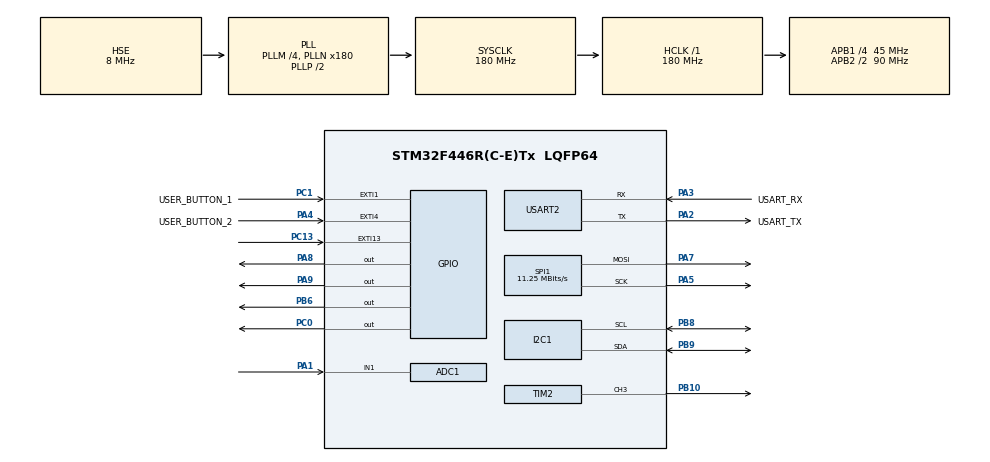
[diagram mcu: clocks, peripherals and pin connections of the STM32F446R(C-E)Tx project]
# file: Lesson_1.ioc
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ADC1.Channel-0\#ChannelRegularConversion=ADC_CHANNEL_1
ADC1.ContinuousConvMode=DISABLE
ADC1.NbrOfConversionFlag=1
ADC1.Rank-0\#ChannelRegularConversion=1
ADC1.SamplingTime-0\#ChannelRegularConversion=ADC_SAMPLETIME_144CYCLES
ADC1.master=1
Mcu.Family=STM32F4
Mcu.Name=STM32F446R(C-E)Tx
Mcu.Package=LQFP64
NUCLEO-F446RE.BUTTON=1
NUCLEO-F446RE.LD1=true
NVIC.EXTI1_IRQn=true\:0\:0\:false\:false\:true\:true\:true\:true
NVIC.EXTI4_IRQn=true\:0\:0\:false\:false\:true\:true\:true\:true
NVIC.PriorityGroup=NVIC_PRIORITYGROUP_0
NVIC.TIM3_IRQn=true\:0\:0\:false\:false\:true\:true\:true\:true
NVIC.USART2_IRQn=true\:0\:0\:false\:false\:true\:true\:true\:true
PA1.Signal=ADCx_IN1
PA13.GPIO_Label=TMS
PA13.Signal=SYS_JTMS-SWDIO
PA14.GPIO_Label=TCK
PA14.Signal=SYS_JTCK-SWCLK
PA2.GPIO_Label=USART_TX
PA2.Mode=Asynchronous
PA2.Signal=USART2_TX
PA3.GPIO_Label=USART_RX
PA3.Mode=Asynchronous
PA3.Signal=USART2_RX
PA4.GPIO_Label=USER_BUTTON_2
PA4.GPIO_ModeDefaultEXTI=GPIO_MODE_IT_RISING_FALLING
PA4.GPIO_PuPd=GPIO_PULLUP
PA4.Signal=GPXTI4
PA5.Mode=TX_Only_Simplex_Unidirect_Master
PA5.Signal=SPI1_SCK
PA7.Mode=TX_Only_Simplex_Unidirect_Master
PA7.Signal=SPI1_MOSI
PA8.Signal=GPIO_Output
PA9.Signal=GPIO_Output
PB10.Signal=S_TIM2_CH3
PB3.GPIO_Label=SWO
PB3.Signal=SYS_JTDO-SWO
PB6.Signal=GPIO_Output
PB8.Mode=I2C
PB8.Signal=I2C1_SCL
PB9.Mode=I2C
PB9.Signal=I2C1_SDA
PC0.Signal=GPIO_Output
PC1.GPIO_Label=USER_BUTTON_1
PC1.GPIO_ModeDefaultEXTI=GPIO_MODE_IT_RISING_FALLING
PC1.GPIO_PuPd=GPIO_PULLUP
PC1.Signal=GPXTI1
PC13.Signal=GPXTI13
PC14-OSC32_IN.Signal=RCC_OSC32_IN
PC15-OSC32_OUT.Signal=RCC_OSC32_OUT
PH0-OSC_IN.Mode=HSE-External-Clock-Source
PH0-OSC_IN.Signal=RCC_OSC_IN
PH1-OSC_OUT.Mode=HSE-External-Clock-Source
PH1-OSC_OUT.Signal=RCC_OSC_OUT
ProjectManager.HeapSize=0x200
ProjectManager.StackSize=0x400
ProjectManager.TargetToolchain=STM32CubeIDE
RCC.AHBFreq_Value=180000000
RCC.APB1CLKDivider=RCC_HCLK_DIV4
RCC.APB1Freq_Value=45000000
RCC.APB1TimFreq_Value=90000000
RCC.APB2CLKDivider=RCC_HCLK_DIV2
RCC.APB2Freq_Value=90000000
RCC.APB2TimFreq_Value=180000000
RCC.CortexFreq_Value=180000000
RCC.FLatency-AdvancedSettings=FLASH_LATENCY_5
RCC.HCLKFreq_Value=180000000
RCC.HSE_VALUE=8000000
RCC.HSI_VALUE=16000000
RCC.LSE_VALUE=32768
RCC.PLLM=4
RCC.PLLN=180
RCC.PLLSourceVirtual=RCC_PLLSOURCE_HSE
RCC.SYSCLKFreq_VALUE=180000000
RCC.SYSCLKSource=RCC_SYSCLKSOURCE_PLLCLK
RCC.USBFreq_Value=180000000
RCC.VCOOutputFreq_Value=360000000
SH.ADCx_IN1.0=ADC1_IN1,IN1
SH.S_TIM2_CH3.0=TIM2_CH3,PWM Generation3 CH3
SPI1.BaudRatePrescaler=SPI_BAUDRATEPRESCALER_8
SPI1.CalculateBaudRate=11.25 MBits/s
SPI1.Direction=SPI_DIRECTION_2LINES
SPI1.Mode=SPI_MODE_MASTER
SPI1.VirtualType=VM_MASTER
TIM2.Channel-PWM\ Generation3\ CH3=TIM_CHANNEL_3
TIM2.Period=999
TIM2.Prescaler=179
TIM3.Period=999
TIM3.Prescaler=179
USART2.VirtualMode=VM_ASYNC
VP_NUCLEO-F446RE_VS_BSP_COMMON.Mode=COMMON
VP_TIM2_VS_ClockSourceINT.Mode=Internal
VP_TIM3_VS_ClockSourceINT.Mode=Internal
board=NUCLEO-F446RE

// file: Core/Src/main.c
/* USER CODE BEGIN Header */
/**
 ******************************************************************************
 * @file           : main.c
 * @brief          : Main program body
 ******************************************************************************
 * @attention
 *
 * Copyright (c) 2026 STMicroelectronics.
 * All rights reserved.
 *
 * This software is licensed under terms that can be found in the LICENSE file
 * in the root directory of this software component.
 * If no LICENSE file comes with this software, it is provided AS-IS.
 *
 ******************************************************************************
 */
/* USER CODE END Header */
#include "main.h"

/* USER CODE BEGIN Includes */
#include "bsp_led.h"
#include "stdio.h"
#include "math.h"
#include "st7735.h"
#include "fonts.h"
#include "string.h"
/* USER CODE END Includes */

ADC_HandleTypeDef hadc1;

I2C_HandleTypeDef hi2c1;

SPI_HandleTypeDef hspi1;

TIM_HandleTypeDef htim2;
TIM_HandleTypeDef htim3;

UART_HandleTypeDef huart2;

/* USER CODE BEGIN PV */
uint8_t rx_buffer;// 0 = переход 1->2, 1 = переход 2->3, 2 = переход 3->1
uint8_t current_screen = 0; // 0 - углы, 1 - настройка порога
float alarm_threshold = 30.0f; // По умолчанию угл
volatile uint8_t button_pressed_flag = 0;
/* USER CODE END PV */

void SystemClock_Config(void);
static void MX_TIM2_Init(void);
static void MX_TIM3_Init(void);
static void MX_USART2_UART_Init(void);
static void MX_ADC1_Init(void);
static void MX_I2C1_Init(void);
static void MX_SPI1_Init(void);

/* USER CODE BEGIN 0 */
#define PI 3.14159265f
#ifdef __GNUC__
int __io_putchar(int ch)
{
	HAL_UART_Transmit(&huart2, (uint8_t*)&ch, 1, HAL_MAX_DELAY);
	return ch;
}
#endif

uint8_t Read_Reg(uint16_t DevAddress, uint8_t RegAddress)
{
	uint8_t data = 0;
	// DevAddress уже должен быть сдвинут влево на 1 бит (0x68 << 1)
	HAL_I2C_Mem_Read(&hi2c1, DevAddress, RegAddress, 1, &data, 1, 100);
	return data;
}

void Write_Reg(uint16_t DevAddress, uint8_t RegAddress, uint8_t Data)
{
	HAL_I2C_Mem_Write(&hi2c1, DevAddress, RegAddress, 1, &Data, 1, 100);
}

void Send_JSON(float roll, float pitch)
{
	char json_buffer[64];
	//Формируем строку. \r\n нужен для окончания строки (Enter)
	sprintf(json_buffer, "{\"roll\": %.1f, \"pitch\": %.1f}\r\n", roll, pitch);
	//Отправляем через UART (используется HAL вместо printf из-за быстродейтсвия
	HAL_UART_Transmit(&huart2, (uint8_t*)json_buffer, strlen(json_buffer), 100);

}
/* USER CODE END 0 */

int main(void)
{

  /* MCU Configuration--------------------------------------------------------*/

  /* Reset of all peripherals, Initializes the Flash interface and the Systick. */
  HAL_Init();

  /* Configure the system clock */
  SystemClock_Config();

  /* Initialize all configured peripherals */
  MX_GPIO_Init();
  MX_TIM2_Init();
  MX_TIM3_Init();
  MX_USART2_UART_Init();
  MX_ADC1_Init();
  MX_I2C1_Init();
  MX_SPI1_Init();
  /* USER CODE BEGIN 2 */
	printf("\r\n--- STM32 UART is ready! ---\r\n");

	HAL_UART_Receive_IT(&huart2, &rx_buffer, 1);

	//Запускаем АЦП (без прерываний, просто в фоне)
	HAL_ADC_Start(&hadc1);

	/* Сканер датчика MPU6050 */

	printf("--- I2c Scanner ---\r\n");
	for (uint8_t addr = 1; addr < 128; addr++)
	{
		// Проверяем, отвечает ли датчик на этот адрес
		if(HAL_I2C_IsDeviceReady(&hi2c1, (addr << 1), 1, 10) == HAL_OK)
		{
			printf("Found I2C device at address: 0x%02X\r\n", addr);
		}

	}

	ST7735_Init();
	ST7735_FillScreen(ST7735_BLACK);

	//Вводим текст
	ST7735_WriteString(0,0, "INCLINOMETER", Font_11x18, ST7735_BLUE, ST7735_BLACK);
	ST7735_WriteString(0,30, "Roll:", Font_11x18, ST7735_WHITE, ST7735_BLACK);
	ST7735_WriteString(0,60, "Pitch:", Font_11x18, ST7735_WHITE, ST7735_BLACK);

	// КАЛИБРОВКА ГИРОСКОПА
	float gyro_bias_x = 0;
	float gyro_bias_y = 0;
	int samples = 500;

	printf("Calibrating gyro... KEEP STILL!\r\n");

	for (int i = 0; i < samples; i++)
	{
		uint8_t gyro_buf[6];
		HAL_I2C_Mem_Read(&hi2c1, (0x68 << 1), 0x43, 1, gyro_buf, 6, 100);

		int16_t raw_x = (gyro_buf[0] << 8) | gyro_buf[1];
		int16_t raw_y = (gyro_buf[2] << 8) | gyro_buf[3];

		gyro_bias_x += (float)raw_x / 131.0f;
		gyro_bias_y += (float)raw_y / 131.0f;

		HAL_Delay(2); //Небольшая задержка между замерами
	}

		gyro_bias_x /= samples;
		gyro_bias_y /= samples;

		printf("Bias X: %.2f, Bias Y: %.2f\r\n", gyro_bias_x, gyro_bias_y);
		// КОНЕЦ КАЛИБРОВКИ

  /* USER CODE END 2 */

  /* Initialize leds */
 // BSP_LED_Init(LED2);

  /* Initialize USER push-button, will be used to trigger an interrupt each time it's pressed.*/
 // BSP_PB_Init(BUTTON_USER, BUTTON_MODE_EXTI);

  /* Infinite loop */
  /* USER CODE BEGIN WHILE */
			static float comp_roll = 0.0f;
			static float comp_pitch = 0.0f;
			//uint32_t last_time = HAL_GetTick(); // Запоминаем время для интеграции
			//char buf[32]; // Буфер для форматирования текста

	while (1) {
		/* USER CODE BEGIN WHILE */
		  static float comp_roll = 0.0f;
		  static float comp_pitch = 0.0f;
		  uint32_t last_time = HAL_GetTick();
		  char buf[32]; // Перенес объявление сюда, чтобы было видно в цикле
		 // static uint8_t last_screen = 255;

		  while (1)
		  {
		    // --- КНОПКА ---
		   if (button_pressed_flag == 1)
		   {
			   	static uint32_t last_time = 0;
				uint32_t now = HAL_GetTick();

				if (now - last_time > 200)
				{
					last_time = now;
					current_screen++;
					if (current_screen > 1) current_screen = 0;

					ST7735_FillScreen(ST7735_BLACK);
				}

				button_pressed_flag = 0;
				ST7735_WriteString(0,0, "INCLINOMETER", Font_11x18, ST7735_BLUE, ST7735_BLACK);
		   }

		    // --- ЧТЕНИЕ ДАТЧИКОВ ---
		    uint8_t accel_buf[6];
		    uint8_t gyro_buf[6];
		    HAL_I2C_Mem_Read(&hi2c1, (0x68 << 1), 0x3B, 1, accel_buf, 6, 100);
		    HAL_I2C_Mem_Read(&hi2c1, (0x68 << 1), 0x43, 1, gyro_buf, 6, 100);

		    int16_t acc_x = (accel_buf[0] << 8) | accel_buf[1];
		    int16_t acc_y = (accel_buf[2] << 8) | accel_buf[3];
		    int16_t acc_z = (accel_buf[4] << 8) | accel_buf[5];

		    int16_t gyr_x = (gyro_buf[0] << 8) | gyro_buf[1];
		    int16_t gyr_y = (gyro_buf[2] << 8) | gyro_buf[3];

		    // --- МАТЕМАТИКА ---
		    uint32_t now = HAL_GetTick();
		    float dt = (now - last_time) / 1000.0f;
		    last_time = now;

		    float roll_acc = atan2(acc_y / 16384.0f, acc_z / 16384.0f) * (180.0f / PI);
		    float pitch_acc = atan2(-acc_x / 16384.0f, sqrt((acc_y/16384.0f)*(acc_y/16384.0f) + (acc_z/16384.0f)*(acc_z/16384.0f))) * (180.0f / PI);

		    float roll_gyro = comp_roll + (((gyr_x / 131.0f) - gyro_bias_x) * dt);
		    float pitch_gyro = comp_pitch + (((gyr_y / 131.0f) - gyro_bias_y) * dt);

		    comp_roll = 0.95f * roll_gyro + 0.05f * roll_acc;
		    comp_pitch = 0.95f * pitch_gyro + 0.05f * pitch_acc;

		    // --- ВЫВОД НА ЭКРАН ---
		    if (current_screen == 0)
		    {
		        sprintf(buf, "Roll: %6.1f  ", comp_roll);
		        fabs(comp_roll) < 30 ? ST7735_WriteString(0, 30, buf, Font_11x18, ST7735_WHITE, ST7735_BLACK) : ST7735_WriteString(0, 30, buf, Font_11x18, ST7735_RED, ST7735_BLACK);

		        sprintf(buf, "Pitch: %6.1f  ", comp_pitch);
		        fabs(comp_pitch) < 30 ? ST7735_WriteString(0, 60, buf, Font_11x18, ST7735_WHITE, ST7735_BLACK) : ST7735_WriteString(0, 60, buf, Font_11x18, ST7735_RED, ST7735_BLACK);

		    }
		    else if (current_screen == 1)
		    {
		        ST7735_WriteString(0, 30, "Set Alarm:", Font_11x18, ST7735_WHITE, ST7735_BLACK);
		        sprintf(buf, "  %.0f deg  ", alarm_threshold);
		        ST7735_WriteString(0, 60, buf, Font_11x18, ST7735_WHITE, ST7735_BLACK);
		    }

		    // --- ЗУММЕР ---
		    if (fabs(comp_roll) > 30.0f || fabs(comp_pitch) > 30.0f) {
		        HAL_GPIO_WritePin(GPIOC, GPIO_PIN_0, GPIO_PIN_SET);
		    } else {
		        HAL_GPIO_WritePin(GPIOC, GPIO_PIN_0, GPIO_PIN_RESET);
		    }

		    Send_JSON(comp_roll, comp_pitch);
		    HAL_Delay(20);
    /* USER CODE END WHILE */

		  }
	}
}

void SystemClock_Config(void)
{
  RCC_OscInitTypeDef RCC_OscInitStruct = {0};
  RCC_ClkInitTypeDef RCC_ClkInitStruct = {0};

  /** Configure the main internal regulator output voltage
  */
  __HAL_RCC_PWR_CLK_ENABLE();
  __HAL_PWR_VOLTAGESCALING_CONFIG(PWR_REGULATOR_VOLTAGE_SCALE1);

  /** Initializes the RCC Oscillators according to the specified parameters
  * in the RCC_OscInitTypeDef structure.
  */
  RCC_OscInitStruct.OscillatorType = RCC_OSCILLATORTYPE_HSE;
  RCC_OscInitStruct.HSEState = RCC_HSE_BYPASS;
  RCC_OscInitStruct.PLL.PLLState = RCC_PLL_ON;
  RCC_OscInitStruct.PLL.PLLSource = RCC_PLLSOURCE_HSE;
  RCC_OscInitStruct.PLL.PLLM = 4;
  RCC_OscInitStruct.PLL.PLLN = 180;
  RCC_OscInitStruct.PLL.PLLP = RCC_PLLP_DIV2;
  RCC_OscInitStruct.PLL.PLLQ = 2;
  RCC_OscInitStruct.PLL.PLLR = 2;
  if (HAL_RCC_OscConfig(&RCC_OscInitStruct) != HAL_OK)
  {
    Error_Handler();
  }

  /** Activate the Over-Drive mode
  */
  if (HAL_PWREx_EnableOverDrive() != HAL_OK)
  {
    Error_Handler();
  }

  /** Initializes the CPU, AHB and APB buses clocks
  */
  RCC_ClkInitStruct.ClockType = RCC_CLOCKTYPE_HCLK|RCC_CLOCKTYPE_SYSCLK
                              |RCC_CLOCKTYPE_PCLK1|RCC_CLOCKTYPE_PCLK2;
  RCC_ClkInitStruct.SYSCLKSource = RCC_SYSCLKSOURCE_PLLCLK;
  RCC_ClkInitStruct.AHBCLKDivider = RCC_SYSCLK_DIV1;
  RCC_ClkInitStruct.APB1CLKDivider = RCC_HCLK_DIV4;
  RCC_ClkInitStruct.APB2CLKDivider = RCC_HCLK_DIV2;

  if (HAL_RCC_ClockConfig(&RCC_ClkInitStruct, FLASH_LATENCY_5) != HAL_OK)
  {
    Error_Handler();
  }
}

static void MX_ADC1_Init(void)
{

  ADC_ChannelConfTypeDef sConfig = {0};

  /** Configure the global features of the ADC (Clock, Resolution, Data Alignment and number of conversion)
  */
  hadc1.Instance = ADC1;
  hadc1.Init.ClockPrescaler = ADC_CLOCK_SYNC_PCLK_DIV4;
  hadc1.Init.Resolution = ADC_RESOLUTION_12B;
  hadc1.Init.ScanConvMode = DISABLE;
  hadc1.Init.ContinuousConvMode = DISABLE;
  hadc1.Init.DiscontinuousConvMode = DISABLE;
  hadc1.Init.ExternalTrigConvEdge = ADC_EXTERNALTRIGCONVEDGE_NONE;
  hadc1.Init.ExternalTrigConv = ADC_SOFTWARE_START;
  hadc1.Init.DataAlign = ADC_DATAALIGN_RIGHT;
  hadc1.Init.NbrOfConversion = 1;
  hadc1.Init.DMAContinuousRequests = DISABLE;
  hadc1.Init.EOCSelection = ADC_EOC_SINGLE_CONV;
  if (HAL_ADC_Init(&hadc1) != HAL_OK)
  {
    Error_Handler();
  }

  /** Configure for the selected ADC regular channel its corresponding rank in the sequencer and its sample time.
  */
  sConfig.Channel = ADC_CHANNEL_1;
  sConfig.Rank = 1;
  sConfig.SamplingTime = ADC_SAMPLETIME_144CYCLES;
  if (HAL_ADC_ConfigChannel(&hadc1, &sConfig) != HAL_OK)
  {
    Error_Handler();
  }

}

static void MX_I2C1_Init(void)
{

  hi2c1.Instance = I2C1;
  hi2c1.Init.ClockSpeed = 100000;
  hi2c1.Init.DutyCycle = I2C_DUTYCYCLE_2;
  hi2c1.Init.OwnAddress1 = 0;
  hi2c1.Init.AddressingMode = I2C_ADDRESSINGMODE_7BIT;
  hi2c1.Init.DualAddressMode = I2C_DUALADDRESS_DISABLE;
  hi2c1.Init.OwnAddress2 = 0;
  hi2c1.Init.GeneralCallMode = I2C_GENERALCALL_DISABLE;
  hi2c1.Init.NoStretchMode = I2C_NOSTRETCH_DISABLE;
  if (HAL_I2C_Init(&hi2c1) != HAL_OK)
  {
    Error_Handler();
  }

}

static void MX_SPI1_Init(void)
{

  /* SPI1 parameter configuration*/
  hspi1.Instance = SPI1;
  hspi1.Init.Mode = SPI_MODE_MASTER;
  hspi1.Init.Direction = SPI_DIRECTION_2LINES;
  hspi1.Init.DataSize = SPI_DATASIZE_8BIT;
  hspi1.Init.CLKPolarity = SPI_POLARITY_LOW;
  hspi1.Init.CLKPhase = SPI_PHASE_1EDGE;
  hspi1.Init.NSS = SPI_NSS_SOFT;
  hspi1.Init.BaudRatePrescaler = SPI_BAUDRATEPRESCALER_8;
  hspi1.Init.FirstBit = SPI_FIRSTBIT_MSB;
  hspi1.Init.TIMode = SPI_TIMODE_DISABLE;
  hspi1.Init.CRCCalculation = SPI_CRCCALCULATION_DISABLE;
  hspi1.Init.CRCPolynomial = 10;
  if (HAL_SPI_Init(&hspi1) != HAL_OK)
  {
    Error_Handler();
  }

}

static void MX_TIM2_Init(void)
{

  TIM_ClockConfigTypeDef sClockSourceConfig = {0};
  TIM_MasterConfigTypeDef sMasterConfig = {0};
  TIM_OC_InitTypeDef sConfigOC = {0};

  htim2.Instance = TIM2;
  htim2.Init.Prescaler = 179;
  htim2.Init.CounterMode = TIM_COUNTERMODE_UP;
  htim2.Init.Period = 999;
  htim2.Init.ClockDivision = TIM_CLOCKDIVISION_DIV1;
  htim2.Init.AutoReloadPreload = TIM_AUTORELOAD_PRELOAD_DISABLE;
  if (HAL_TIM_Base_Init(&htim2) != HAL_OK)
  {
    Error_Handler();
  }
  sClockSourceConfig.ClockSource = TIM_CLOCKSOURCE_INTERNAL;
  if (HAL_TIM_ConfigClockSource(&htim2, &sClockSourceConfig) != HAL_OK)
  {
    Error_Handler();
  }
  if (HAL_TIM_PWM_Init(&htim2) != HAL_OK)
  {
    Error_Handler();
  }
  sMasterConfig.MasterOutputTrigger = TIM_TRGO_RESET;
  sMasterConfig.MasterSlaveMode = TIM_MASTERSLAVEMODE_DISABLE;
  if (HAL_TIMEx_MasterConfigSynchronization(&htim2, &sMasterConfig) != HAL_OK)
  {
    Error_Handler();
  }
  sConfigOC.OCMode = TIM_OCMODE_PWM1;
  sConfigOC.Pulse = 0;
  sConfigOC.OCPolarity = TIM_OCPOLARITY_HIGH;
  sConfigOC.OCFastMode = TIM_OCFAST_DISABLE;
  if (HAL_TIM_PWM_ConfigChannel(&htim2, &sConfigOC, TIM_CHANNEL_3) != HAL_OK)
  {
    Error_Handler();
  }
  HAL_TIM_MspPostInit(&htim2);

}

static void MX_TIM3_Init(void)
{

  TIM_ClockConfigTypeDef sClockSourceConfig = {0};
  TIM_MasterConfigTypeDef sMasterConfig = {0};

  htim3.Instance = TIM3;
  htim3.Init.Prescaler = 179;
  htim3.Init.CounterMode = TIM_COUNTERMODE_UP;
  htim3.Init.Period = 999;
  htim3.Init.ClockDivision = TIM_CLOCKDIVISION_DIV1;
  htim3.Init.AutoReloadPreload = TIM_AUTORELOAD_PRELOAD_DISABLE;
  if (HAL_TIM_Base_Init(&htim3) != HAL_OK)
  {
    Error_Handler();
  }
  sClockSourceConfig.ClockSource = TIM_CLOCKSOURCE_INTERNAL;
  if (HAL_TIM_ConfigClockSource(&htim3, &sClockSourceConfig) != HAL_OK)
  {
    Error_Handler();
  }
  sMasterConfig.MasterOutputTrigger = TIM_TRGO_RESET;
  sMasterConfig.MasterSlaveMode = TIM_MASTERSLAVEMODE_DISABLE;
  if (HAL_TIMEx_MasterConfigSynchronization(&htim3, &sMasterConfig) != HAL_OK)
  {
    Error_Handler();
  }

}

static void MX_USART2_UART_Init(void)
{

  huart2.Instance = USART2;
  huart2.Init.BaudRate = 115200;
  huart2.Init.WordLength = UART_WORDLENGTH_8B;
  huart2.Init.StopBits = UART_STOPBITS_1;
  huart2.Init.Parity = UART_PARITY_NONE;
  huart2.Init.Mode = UART_MODE_TX_RX;
  huart2.Init.HwFlowCtl = UART_HWCONTROL_NONE;
  huart2.Init.OverSampling = UART_OVERSAMPLING_16;
  if (HAL_UART_Init(&huart2) != HAL_OK)
  {
    Error_Handler();
  }

}

void MX_GPIO_Init(void)
{
  GPIO_InitTypeDef GPIO_InitStruct = {0};

  /* GPIO Ports Clock Enable */
  __HAL_RCC_GPIOC_CLK_ENABLE();
  __HAL_RCC_GPIOH_CLK_ENABLE();
  __HAL_RCC_GPIOA_CLK_ENABLE();
  __HAL_RCC_GPIOB_CLK_ENABLE();

  /*Configure GPIO pin Output Level */
  HAL_GPIO_WritePin(GPIOC, GPIO_PIN_0, GPIO_PIN_RESET);

  /*Configure GPIO pin Output Level */
  HAL_GPIO_WritePin(GPIOA, GPIO_PIN_8|GPIO_PIN_9, GPIO_PIN_RESET);

  /*Configure GPIO pin Output Level */
  HAL_GPIO_WritePin(GPIOB, GPIO_PIN_6, GPIO_PIN_RESET);

  /*Configure GPIO pin : PC0 */
  GPIO_InitStruct.Pin = GPIO_PIN_0;
  GPIO_InitStruct.Mode = GPIO_MODE_OUTPUT_PP;
  GPIO_InitStruct.Pull = GPIO_NOPULL;
  GPIO_InitStruct.Speed = GPIO_SPEED_FREQ_LOW;
  HAL_GPIO_Init(GPIOC, &GPIO_InitStruct);

  /*Configure GPIO pin : USER_BUTTON_1_Pin */
  GPIO_InitStruct.Pin = USER_BUTTON_1_Pin;
  GPIO_InitStruct.Mode = GPIO_MODE_IT_RISING_FALLING;
  GPIO_InitStruct.Pull = GPIO_PULLUP;
  HAL_GPIO_Init(USER_BUTTON_1_GPIO_Port, &GPIO_InitStruct);

  /*Configure GPIO pin : USER_BUTTON_2_Pin */
  GPIO_InitStruct.Pin = USER_BUTTON_2_Pin;
  GPIO_InitStruct.Mode = GPIO_MODE_IT_RISING_FALLING;
  GPIO_InitStruct.Pull = GPIO_PULLUP;
  HAL_GPIO_Init(USER_BUTTON_2_GPIO_Port, &GPIO_InitStruct);

  /*Configure GPIO pins : PA8 PA9 */
  GPIO_InitStruct.Pin = GPIO_PIN_8|GPIO_PIN_9;
  GPIO_InitStruct.Mode = GPIO_MODE_OUTPUT_PP;
  GPIO_InitStruct.Pull = GPIO_NOPULL;
  GPIO_InitStruct.Speed = GPIO_SPEED_FREQ_LOW;
  HAL_GPIO_Init(GPIOA, &GPIO_InitStruct);

  /*Configure GPIO pin : PB6 */
  GPIO_InitStruct.Pin = GPIO_PIN_6;
  GPIO_InitStruct.Mode = GPIO_MODE_OUTPUT_PP;
  GPIO_InitStruct.Pull = GPIO_NOPULL;
  GPIO_InitStruct.Speed = GPIO_SPEED_FREQ_LOW;
  HAL_GPIO_Init(GPIOB, &GPIO_InitStruct);

  /* EXTI interrupt init*/
  HAL_NVIC_SetPriority(EXTI1_IRQn, 0, 0);
  HAL_NVIC_EnableIRQ(EXTI1_IRQn);

  HAL_NVIC_SetPriority(EXTI4_IRQn, 0, 0);
  HAL_NVIC_EnableIRQ(EXTI4_IRQn);

}

/* USER CODE BEGIN 4 */
void HAL_GPIO_EXTI_Callback(uint16_t GPIO_Pin)
{
	if (GPIO_Pin == USER_BUTTON_2_Pin)
	{
		button_pressed_flag = 1;
	}
}

void HAL__UART_ErrorCallback(UART_HandleTypeDef *huart)
{
	if (huart->Instance == USART2)
	{
		//Если ошибка - перезапускам приём
		HAL_UART_Receive_IT(&huart2, &rx_buffer, 1);

	}
}
/* USER CODE END 4 */

void Error_Handler(void)
{
	__disable_irq();
	while (1) {
	}
}
